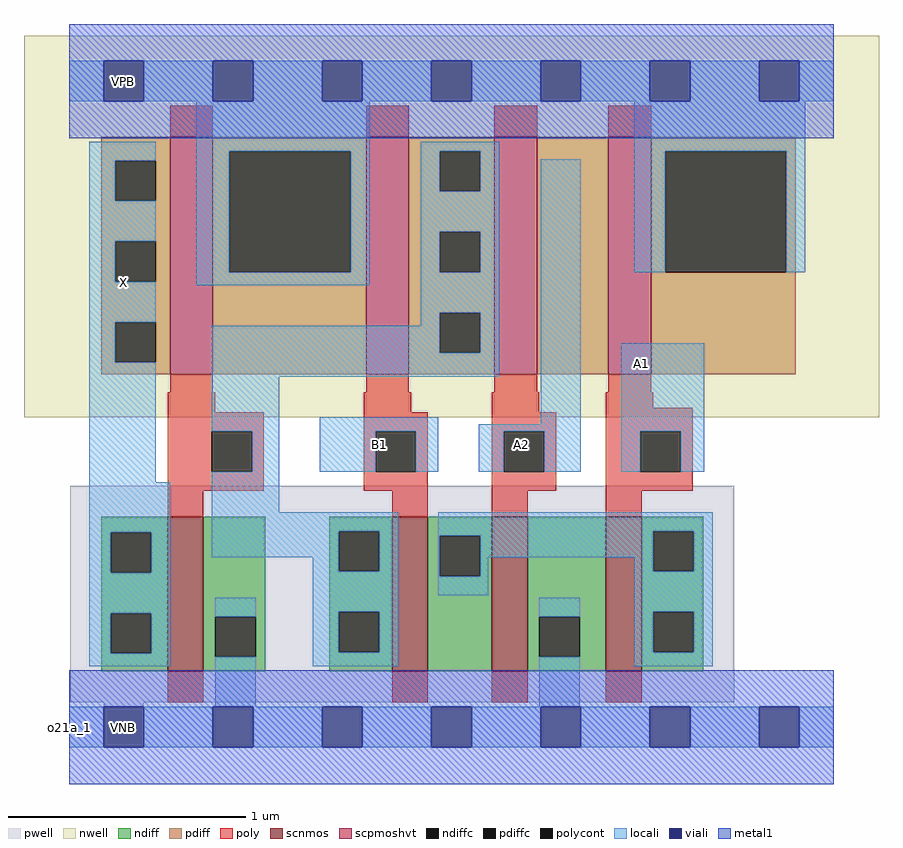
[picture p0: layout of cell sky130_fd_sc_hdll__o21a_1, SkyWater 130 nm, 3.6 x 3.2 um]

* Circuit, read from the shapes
.subckt sky130_fd_sc_hdll__o21a_1 A1 A2 B1 VGND VNB VPB VPWR X
XM1 VGND n1 X VNB sky130_fd_pr__nfet_01v8 w=0.65 l=0.15
XM2 n2 B1 n1 VNB sky130_fd_pr__nfet_01v8 w=0.65 l=0.15
XM3 VGND A2 n2 VNB sky130_fd_pr__nfet_01v8 w=0.65 l=0.15
XM4 n2 A1 VGND VNB sky130_fd_pr__nfet_01v8 w=0.65 l=0.15
XM5 VPWR n1 X VPB sky130_fd_pr__pfet_01v8_hvt w=1 l=0.18
XM6 n1 B1 VPWR VPB sky130_fd_pr__pfet_01v8_hvt w=1 l=0.18
XM7 n3 A2 n1 VPB sky130_fd_pr__pfet_01v8_hvt w=1 l=0.18
XM8 VPWR A1 n3 VPB sky130_fd_pr__pfet_01v8_hvt w=1 l=0.18
.ends

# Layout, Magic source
magic
tech sky130A
magscale 1 2
<< nwell >>
rect -38 261 682 582
<< pwell >>
rect 1 21 560 203
rect 29 -17 63 21
<< scnmos >>
rect 83 47 113 177
rect 272 47 302 177
rect 356 47 386 177
rect 452 47 482 177
<< scpmoshvt >>
rect 85 297 121 497
rect 250 297 286 497
rect 358 297 394 497
rect 454 297 490 497
<< ndiff >>
rect 27 164 83 177
rect 27 130 35 164
rect 69 130 83 164
rect 27 96 83 130
rect 27 62 35 96
rect 69 62 83 96
rect 27 47 83 62
rect 113 93 165 177
rect 113 59 123 93
rect 157 59 165 93
rect 113 47 165 59
rect 219 165 272 177
rect 219 131 227 165
rect 261 131 272 165
rect 219 97 272 131
rect 219 63 227 97
rect 261 63 272 97
rect 219 47 272 63
rect 302 161 356 177
rect 302 127 312 161
rect 346 127 356 161
rect 302 47 356 127
rect 386 93 452 177
rect 386 59 396 93
rect 430 59 452 93
rect 386 47 452 59
rect 482 165 534 177
rect 482 131 492 165
rect 526 131 534 165
rect 482 97 534 131
rect 482 63 492 97
rect 526 63 534 97
rect 482 47 534 63
<< pdiff >>
rect 27 477 85 497
rect 27 443 39 477
rect 73 443 85 477
rect 27 409 85 443
rect 27 375 39 409
rect 73 375 85 409
rect 27 341 85 375
rect 27 307 39 341
rect 73 307 85 341
rect 27 297 85 307
rect 121 485 250 497
rect 121 383 135 485
rect 237 383 250 485
rect 121 297 250 383
rect 286 485 358 497
rect 286 451 312 485
rect 346 451 358 485
rect 286 417 358 451
rect 286 383 312 417
rect 346 383 358 417
rect 286 349 358 383
rect 286 315 312 349
rect 346 315 358 349
rect 286 297 358 315
rect 394 297 454 497
rect 490 485 612 497
rect 490 383 502 485
rect 604 383 612 485
rect 490 297 612 383
<< ndiffc >>
rect 35 130 69 164
rect 35 62 69 96
rect 123 59 157 93
rect 227 131 261 165
rect 227 63 261 97
rect 312 127 346 161
rect 396 59 430 93
rect 492 131 526 165
rect 492 63 526 97
<< pdiffc >>
rect 39 443 73 477
rect 39 375 73 409
rect 39 307 73 341
rect 135 383 237 485
rect 312 451 346 485
rect 312 383 346 417
rect 312 315 346 349
rect 502 383 604 485
<< poly >>
rect 85 497 121 523
rect 250 497 286 523
rect 358 497 394 523
rect 454 497 490 523
rect 85 282 121 297
rect 250 282 286 297
rect 358 282 394 297
rect 454 282 490 297
rect 83 265 123 282
rect 248 265 288 282
rect 356 265 396 282
rect 452 269 492 282
rect 83 249 164 265
rect 83 215 120 249
rect 154 215 164 249
rect 83 199 164 215
rect 248 249 302 265
rect 248 215 258 249
rect 292 215 302 249
rect 248 199 302 215
rect 83 177 113 199
rect 272 177 302 199
rect 356 249 410 265
rect 356 215 366 249
rect 400 215 410 249
rect 356 199 410 215
rect 452 249 525 269
rect 452 215 481 249
rect 515 215 525 249
rect 452 199 525 215
rect 356 177 386 199
rect 452 177 482 199
rect 83 21 113 47
rect 272 21 302 47
rect 356 21 386 47
rect 452 21 482 47
<< polycont >>
rect 120 215 154 249
rect 258 215 292 249
rect 366 215 400 249
rect 481 215 515 249
<< locali >>
rect 0 527 29 561
rect 63 527 121 561
rect 155 527 213 561
rect 247 527 305 561
rect 339 527 397 561
rect 431 527 489 561
rect 523 527 581 561
rect 615 527 644 561
rect 17 477 73 493
rect 17 443 39 477
rect 17 409 73 443
rect 17 375 39 409
rect 17 341 73 375
rect 107 485 253 527
rect 107 383 135 485
rect 237 383 253 485
rect 107 372 253 383
rect 296 485 362 493
rect 296 451 312 485
rect 346 451 362 485
rect 476 485 620 527
rect 296 417 362 451
rect 296 383 312 417
rect 346 383 362 417
rect 17 307 39 341
rect 296 349 362 383
rect 296 338 312 349
rect 17 206 73 307
rect 120 315 312 338
rect 346 315 362 349
rect 120 295 362 315
rect 120 249 177 295
rect 154 215 177 249
rect 211 249 311 261
rect 397 255 431 478
rect 476 383 502 485
rect 604 383 620 485
rect 211 215 258 249
rect 292 215 311 249
rect 345 249 431 255
rect 345 215 366 249
rect 400 215 431 249
rect 465 249 535 323
rect 465 215 481 249
rect 515 215 535 249
rect 17 164 85 206
rect 17 130 35 164
rect 69 130 85 164
rect 120 181 177 215
rect 120 165 277 181
rect 120 143 227 165
rect 17 96 85 130
rect 205 131 227 143
rect 261 131 277 165
rect 17 62 35 96
rect 69 62 85 96
rect 17 51 85 62
rect 123 93 157 109
rect 123 17 157 59
rect 205 97 277 131
rect 311 165 542 181
rect 311 161 492 165
rect 311 127 312 161
rect 346 143 492 161
rect 346 127 353 143
rect 311 111 353 127
rect 476 131 492 143
rect 526 131 542 165
rect 205 63 227 97
rect 261 63 277 97
rect 205 51 277 63
rect 396 93 430 109
rect 396 17 430 59
rect 476 97 542 131
rect 476 63 492 97
rect 526 63 542 97
rect 476 51 542 63
rect 0 -17 29 17
rect 63 -17 121 17
rect 155 -17 213 17
rect 247 -17 305 17
rect 339 -17 397 17
rect 431 -17 489 17
rect 523 -17 581 17
rect 615 -17 644 17
<< viali >>
rect 29 527 63 561
rect 121 527 155 561
rect 213 527 247 561
rect 305 527 339 561
rect 397 527 431 561
rect 489 527 523 561
rect 581 527 615 561
rect 29 -17 63 17
rect 121 -17 155 17
rect 213 -17 247 17
rect 305 -17 339 17
rect 397 -17 431 17
rect 489 -17 523 17
rect 581 -17 615 17
<< metal1 >>
rect 0 561 644 592
rect 0 527 29 561
rect 63 527 121 561
rect 155 527 213 561
rect 247 527 305 561
rect 339 527 397 561
rect 431 527 489 561
rect 523 527 581 561
rect 615 527 644 561
rect 0 496 644 527
rect 0 17 644 48
rect 0 -17 29 17
rect 63 -17 121 17
rect 155 -17 213 17
rect 247 -17 305 17
rect 339 -17 397 17
rect 431 -17 489 17
rect 523 -17 581 17
rect 615 -17 644 17
rect 0 -48 644 -17
<< labels >>
flabel locali s 29 357 63 391 0 FreeSans 340 0 0 0 X
port 8 nsew signal output
flabel locali s 465 289 499 323 0 FreeSans 340 0 0 0 A1
port 1 nsew signal input
flabel locali s 211 215 311 261 0 FreeSans 340 0 0 0 B1
port 3 nsew signal input
flabel locali s 364 221 398 255 0 FreeSans 340 0 0 0 A2
port 2 nsew signal input
flabel nwell s 29 527 63 561 0 FreeSans 200 0 0 0 VPB
port 6 nsew power bidirectional
flabel pwell s 29 -17 63 17 0 FreeSans 200 0 0 0 VNB
port 5 nsew ground bidirectional
flabel metal1 s 29 -17 63 17 0 FreeSans 200 0 0 0 VGND
port 4 nsew ground bidirectional
flabel metal1 s 29 527 63 561 0 FreeSans 200 0 0 0 VPWR
port 7 nsew power bidirectional
rlabel comment s 0 0 0 0 4 o21a_1
<< properties >>
string LEFsite unithd
string LEFclass CORE
string FIXED_BBOX 0 0 644 544
string GDS_FILE $PDKPATH/libs.ref/sky130_fd_sc_hdll/gds/sky130_fd_sc_hdll.gds
string LEFsymmetry X Y R90
string GDS_END 926488
string GDS_START 920724
string LEFproperties maskLayoutSubType "abstract" prCellType "standard" originalViewName "layout"
<< end >>
